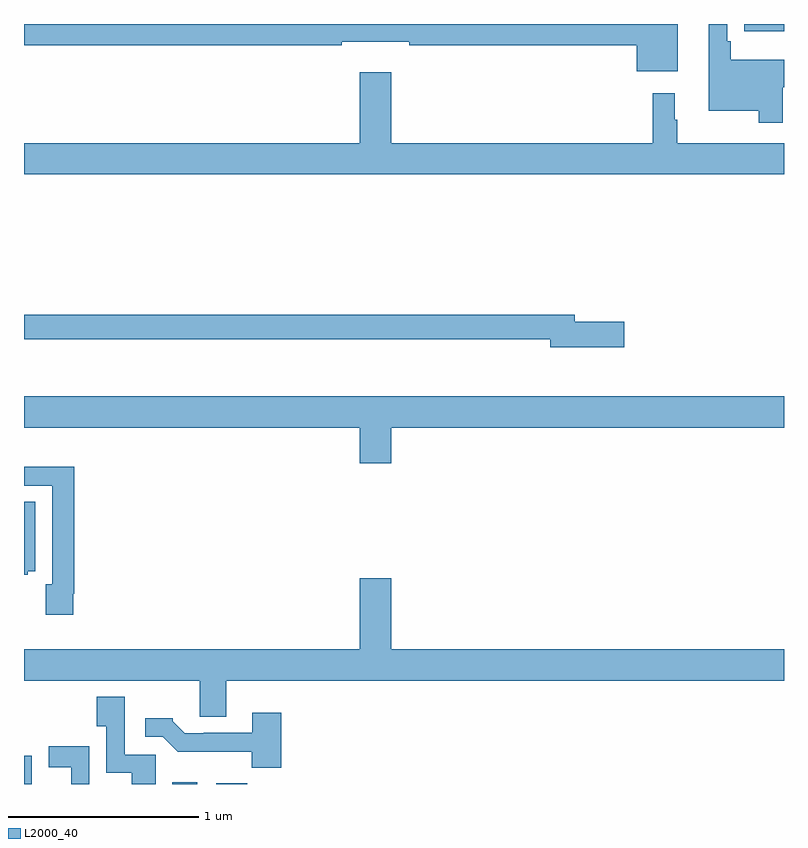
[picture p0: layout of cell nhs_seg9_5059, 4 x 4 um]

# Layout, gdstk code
import gdstk
lib = gdstk.Library(unit=1e-6, precision=1e-09)
def R(c, l, rs):  # rectangles x0, y0, x1, y1
    for r in rs: c.add(gdstk.rectangle(r[:2], r[2:], *l))
def P(c, l, *ps):  # polygons
    for p in ps: c.add(gdstk.Polygon(p, *l))
L2000_40 = (2000, 40)

nhs_seg9_5059 = lib.new_cell('nhs_seg9_5059')
R(nhs_seg9_5059, L2000_40, [(403,1238.5,403.042,1238.65), (403.781,1238.5,403.912,1238.509), (404.012,1238.5,404.174,1238.503), (406.79,1242.461,407,1242.5)])
P(nhs_seg9_5059, L2000_40, [(406.994,1242.166),(407,1242.166),(407,1242.313),(406.721,1242.313),(406.721,1242.409),(406.701,1242.409),(406.701,1242.5),(406.604,1242.5),(406.604,1242.044),(406.866,1242.044),(406.866,1241.979),(406.994,1241.979)],
  [(406.441,1242.5),(403,1242.5),(403,1242.388),(404.672,1242.388),(404.672,1242.407),(405.028,1242.407),(405.028,1242.388),(406.226,1242.388),(406.226,1242.251),(406.441,1242.251)],
  [(407,1241.872),(406.438,1241.872),(406.438,1241.996),(406.426,1241.996),(406.426,1242.136),(406.309,1242.136),(406.309,1241.872),(404.932,1241.872),(404.932,1242.247),(404.768,1242.247),(404.768,1241.872),(403,1241.872),(403,1241.708),(407,1241.708)],
  [(406.159,1240.934),(405.898,1240.934),(405.898,1240.97),(403,1240.97),(403,1240.842),(405.77,1240.842),(405.77,1240.799),(406.159,1240.799)],
  [(404.932,1240.376),(407,1240.376),(407,1240.54),(403,1240.54),(403,1240.376),(404.768,1240.376),(404.768,1240.188),(404.932,1240.188)],
  [(403.258,1239.502),(403.265,1239.502),(403.265,1240.171),(403,1240.171),(403,1240.071),(403.149,1240.071),(403.149,1239.551),(403.115,1239.551),(403.115,1239.39),(403.258,1239.39)],
  [(403.02,1239.62),(403.06,1239.62),(403.06,1239.986),(403,1239.986),(403,1239.602),(403.02,1239.602)],
  [(404.065,1239.044),(407,1239.044),(407,1239.208),(404.932,1239.208),(404.932,1239.583),(404.768,1239.583),(404.768,1239.208),(403,1239.208),(403,1239.044),(403.925,1239.044),(403.925,1238.854),(404.065,1238.854)],
  [(403.693,1238.655),(403.53,1238.655),(403.53,1238.959),(403.382,1238.959),(403.382,1238.803),(403.434,1238.803),(403.434,1238.558),(403.568,1238.558),(403.568,1238.5),(403.693,1238.5)],
  [(404.354,1238.875),(404.201,1238.875),(404.201,1238.769),(403.945,1238.769),(403.945,1238.766),(403.846,1238.766),(403.782,1238.83),(403.782,1238.845),(403.638,1238.845),(403.638,1238.748),(403.731,1238.748),(403.81,1238.67),(404.199,1238.67),(404.199,1238.585),(404.354,1238.585)],
  [(403.344,1238.698),(403.131,1238.698),(403.131,1238.589),(403.248,1238.589),(403.248,1238.5),(403.344,1238.5)])

lib.write_gds('nhs_seg9_5059.gds')
